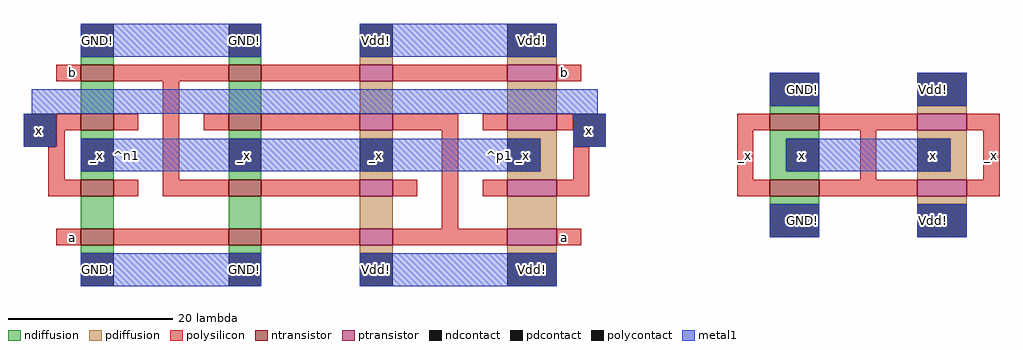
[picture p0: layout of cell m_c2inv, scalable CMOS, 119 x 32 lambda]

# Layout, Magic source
magic
tech scmos
<< ndiffusion >>
rect 3 26 7 27
rect 21 26 25 27
rect 3 20 7 24
rect 3 17 7 18
rect 3 12 7 13
rect 21 20 25 24
rect 87 20 93 21
rect 21 17 25 18
rect 21 12 25 13
rect 3 6 7 10
rect 21 6 25 10
rect 87 17 93 18
rect 87 13 89 17
rect 87 12 93 13
rect 87 9 93 10
rect 3 3 7 4
rect 21 3 25 4
<< pdiffusion >>
rect 37 26 41 27
rect 55 26 61 27
rect 37 20 41 24
rect 55 20 61 24
rect 105 20 111 21
rect 37 17 41 18
rect 37 12 41 13
rect 37 6 41 10
rect 55 17 61 18
rect 59 13 61 17
rect 55 12 61 13
rect 105 17 111 18
rect 109 13 111 17
rect 105 12 111 13
rect 55 6 61 10
rect 105 9 111 10
rect 37 3 41 4
rect 55 3 61 4
<< ntransistor >>
rect 3 24 7 26
rect 21 24 25 26
rect 3 18 7 20
rect 21 18 25 20
rect 3 10 7 12
rect 21 10 25 12
rect 87 18 93 20
rect 87 10 93 12
rect 3 4 7 6
rect 21 4 25 6
<< ptransistor >>
rect 37 24 41 26
rect 55 24 61 26
rect 37 18 41 20
rect 55 18 61 20
rect 37 10 41 12
rect 105 18 111 20
rect 55 10 61 12
rect 105 10 111 12
rect 37 4 41 6
rect 55 4 61 6
<< polysilicon >>
rect 0 24 3 26
rect 7 24 21 26
rect 25 24 37 26
rect 41 24 55 26
rect 61 24 64 26
rect 0 18 3 20
rect 7 18 10 20
rect 0 16 1 18
rect -1 12 1 16
rect 13 12 15 24
rect 18 18 21 20
rect 25 18 37 20
rect 41 18 49 20
rect 52 18 55 20
rect 61 18 63 20
rect -1 10 3 12
rect 7 10 10 12
rect 13 10 21 12
rect 25 10 37 12
rect 41 10 44 12
rect 47 6 49 18
rect 83 18 87 20
rect 93 18 105 20
rect 111 18 115 20
rect 63 12 65 16
rect 52 10 55 12
rect 61 10 65 12
rect 83 12 85 18
rect 98 12 100 18
rect 113 12 115 18
rect 83 10 87 12
rect 93 10 105 12
rect 111 10 115 12
rect 0 4 3 6
rect 7 4 21 6
rect 25 4 37 6
rect 41 4 55 6
rect 61 4 64 6
<< ndcontact >>
rect 3 27 7 31
rect 21 27 25 31
rect 3 13 7 17
rect 87 21 93 25
rect 21 13 25 17
rect 89 13 93 17
rect 87 5 93 9
rect 3 -1 7 3
rect 21 -1 25 3
<< pdcontact >>
rect 37 27 41 31
rect 55 27 61 31
rect 105 21 111 25
rect 37 13 41 17
rect 55 13 59 17
rect 105 13 109 17
rect 105 5 111 9
rect 37 -1 41 3
rect 55 -1 61 3
<< polycontact >>
rect -4 16 0 20
rect 63 16 67 20
<< metal1 >>
rect 3 27 25 31
rect 37 27 61 31
rect -3 20 66 23
rect 87 21 93 25
rect 105 21 111 25
rect -4 16 0 20
rect 3 13 59 17
rect 63 16 67 20
rect 89 13 109 17
rect 87 5 93 9
rect 105 5 111 9
rect 3 -1 25 3
rect 37 -1 61 3
<< labels >>
rlabel polysilicon 2 25 2 25 3 b
rlabel polysilicon 2 5 2 5 1 a
rlabel polysilicon 62 5 62 5 1 a
rlabel polysilicon 62 25 62 25 1 b
rlabel space -5 -2 22 32 7 ^n1
rlabel space 40 -2 68 32 3 ^p1
rlabel polysilicon 84 15 84 15 1 _x
rlabel polysilicon 114 15 114 15 7 _x
rlabel space 82 4 90 26 7 ^n2
rlabel space 108 4 116 26 3 ^p2
rlabel ndcontact 23 1 23 1 1 GND!
rlabel pdcontact 39 1 39 1 1 Vdd!
rlabel ndcontact 23 29 23 29 5 GND!
rlabel pdcontact 39 29 39 29 5 Vdd!
rlabel ndcontact 5 1 5 1 1 GND!
rlabel ndcontact 5 29 5 29 5 GND!
rlabel pdcontact 58 1 58 1 1 Vdd!
rlabel pdcontact 58 29 58 29 5 Vdd!
rlabel pdcontact 39 15 39 15 1 _x
rlabel ndcontact 23 15 23 15 1 _x
rlabel polycontact -2 18 -2 18 1 x
rlabel polycontact 65 18 65 18 1 x
rlabel ndcontact 5 15 5 15 1 _x
rlabel pdcontact 57 15 57 15 1 _x
rlabel ndcontact 91 7 91 7 1 GND!
rlabel ndcontact 91 23 91 23 5 GND!
rlabel pdcontact 107 23 107 23 5 Vdd!
rlabel pdcontact 107 7 107 7 1 Vdd!
rlabel ndcontact 91 15 91 15 1 x
rlabel pdcontact 107 15 107 15 1 x
<< end >>
